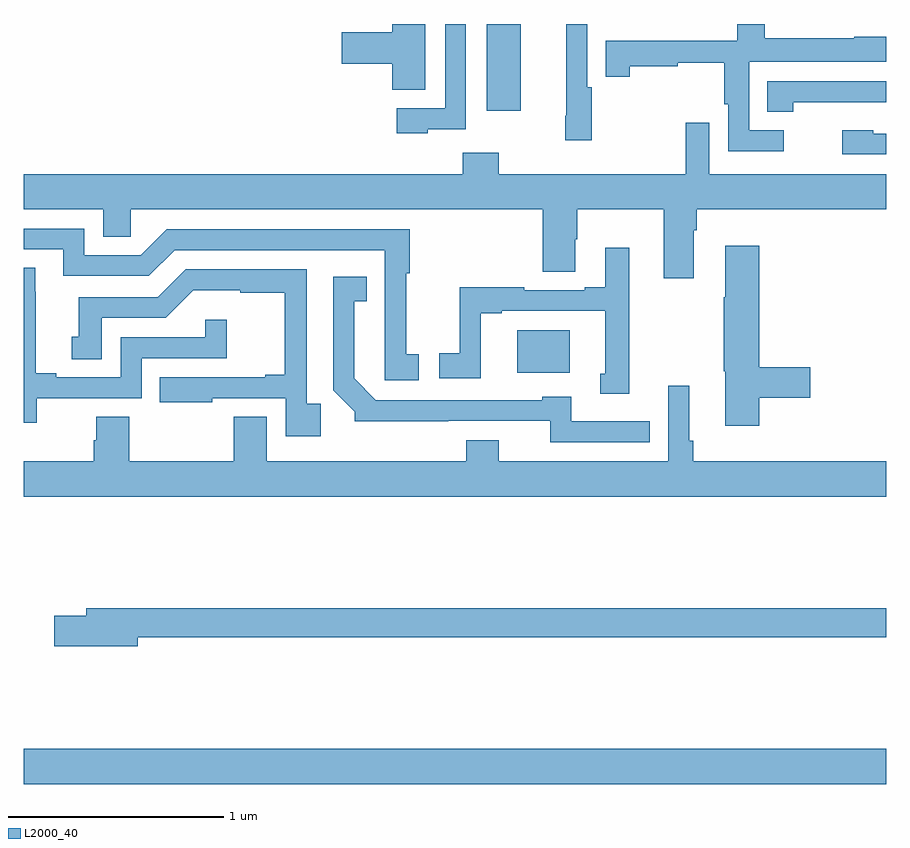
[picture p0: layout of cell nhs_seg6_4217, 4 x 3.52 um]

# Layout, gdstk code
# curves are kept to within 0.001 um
import gdstk
lib = gdstk.Library(unit=1e-6, precision=1e-09)
def R(c, l, rs):  # rectangles x0, y0, x1, y1
    for r in rs: c.add(gdstk.rectangle(r[:2], r[2:], *l))
def P(c, l, *ps):  # polygons
    for p in ps: c.add(gdstk.Polygon(p, *l))
L2000_40 = (2000, 40)

nhs_seg6_4217 = lib.new_cell('nhs_seg6_4217')
R(nhs_seg6_4217, L2000_40, [(359,973.976,363,974.14), (361.289,975.884,361.531,976.081), (361.148,977.097,361.306,977.5)])
P(nhs_seg6_4217, L2000_40, [(360.862,977.5),(360.71,977.5),(360.71,977.462),(360.474,977.462),(360.474,977.315),(360.71,977.315),(360.71,977.194),(360.862,977.194)],
  [(362.524,977.007),(362.364,977.007),(362.364,977.325),(363,977.325),(363,977.441),(362.851,977.441),(362.851,977.434),(362.437,977.434),(362.437,977.5),(362.309,977.5),(362.309,977.422),(361.699,977.422),(361.699,977.256),(361.81,977.256),(361.81,977.305),(362.034,977.305),(362.034,977.32),(362.248,977.32),(362.248,977.128),(362.268,977.128),(362.268,976.911),(362.524,976.911)],
  [(360.873,977.013),(361.05,977.013),(361.05,977.5),(360.954,977.5),(360.954,977.109),(360.729,977.109),(360.729,976.994),(360.873,976.994)],
  [(361.634,977.206),(361.614,977.206),(361.614,977.5),(361.517,977.5),(361.517,977.074),(361.511,977.074),(361.511,976.962),(361.634,976.962)],
  [(362.568,977.138),(363,977.138),(363,977.235),(362.449,977.235),(362.449,977.092),(362.568,977.092)],
  [(362.107,976.544),(362.12,976.544),(362.12,976.64),(363,976.64),(363,976.804),(362.178,976.804),(362.178,977.041),(362.07,977.041),(362.07,976.804),(361.202,976.804),(361.202,976.903),(361.037,976.903),(361.037,976.804),(359,976.804),(359,976.64),(359.369,976.64),(359.369,976.513),(359.496,976.513),(359.496,976.64),(361.406,976.64),(361.406,976.351),(361.558,976.351),(361.558,976.502),(361.566,976.502),(361.566,976.64),(361.967,976.64),(361.967,976.32),(362.107,976.32)],
  [(363,976.992),(362.94,976.992),(362.94,977.008),(362.796,977.008),(362.796,976.896),(363,976.896)],
  [(360.832,975.969),(360.774,975.969),(360.774,976.345),(360.791,976.345),(360.791,976.548),(359.664,976.548),(359.544,976.428),(359.28,976.428),(359.28,976.551),(359,976.551),(359,976.455),(359.184,976.455),(359.184,976.332),(359.58,976.332),(359.7,976.452),(360.675,976.452),(360.674,975.849),(360.832,975.849)],
  [(362.411,975.766),(362.647,975.766),(362.647,975.908),(362.411,975.908),(362.411,976.471),(362.252,976.471),(362.252,976.232),(362.245,976.232),(362.245,975.891),(362.252,975.891),(362.252,975.636),(362.411,975.636)],
  [(361.807,976.462),(361.697,976.462),(361.697,976.279),(361.601,976.279),(361.601,976.266),(361.322,976.266),(361.322,976.279),(361.021,976.279),(361.021,975.974),(360.927,975.974),(360.927,975.858),(361.12,975.858),(361.12,976.158),(361.216,976.158),(361.216,976.17),(361.697,976.17),(361.697,975.879),(361.673,975.879),(361.673,975.785),(361.807,975.785)],
  [(359.06,975.765),(359.547,975.765),(359.547,975.951),(359.942,975.951),(359.942,976.129),(359.841,976.129),(359.841,976.047),(359.451,976.047),(359.451,975.861),(359.152,975.861),(359.152,975.881),(359.056,975.881),(359.056,976.259),(359.054,976.259),(359.054,976.37),(359,976.37),(359,975.651),(359.06,975.651)],
  [(360.377,975.739),(360.312,975.739),(360.312,976.362),(359.751,976.362),(359.622,976.233),(359.255,976.233),(359.255,976.05),(359.222,976.05),(359.222,975.946),(359.362,975.946),(359.362,976.137),(359.658,976.137),(359.786,976.265),(360.005,976.265),(360.005,976.254),(360.211,976.254),(360.211,975.874),(360.119,975.874),(360.119,975.861),(359.632,975.861),(359.632,975.746),(359.875,975.746),(359.875,975.765),(360.216,975.765),(360.216,975.588),(360.377,975.588)],
  [(361.904,975.657),(361.54,975.657),(361.54,975.772),(361.404,975.772),(361.404,975.756),(360.633,975.756),(360.532,975.857),(360.532,976.214),(360.59,976.214),(360.59,976.327),(360.435,976.327),(360.435,975.802),(360.534,975.703),(360.534,975.659),(361.441,975.66),(361.441,975.561),(361.904,975.561)],
  [(363,975.472),(362.105,975.472),(362.105,975.568),(362.086,975.568),(362.086,975.823),(361.989,975.823),(361.989,975.472),(361.204,975.472),(361.204,975.571),(361.052,975.571),(361.052,975.472),(360.127,975.472),(360.127,975.68),(359.975,975.68),(359.975,975.472),(359.489,975.472),(359.489,975.68),(359.336,975.68),(359.336,975.57),(359.324,975.57),(359.324,975.472),(359,975.472),(359,975.308),(363,975.308)],
  [(359.53,974.656),(363,974.656),(363,974.792),(359.291,974.792),(359.291,974.756),(359.142,974.756),(359.142,974.614),(359.53,974.614)])

lib.write_gds('nhs_seg6_4217.gds')
